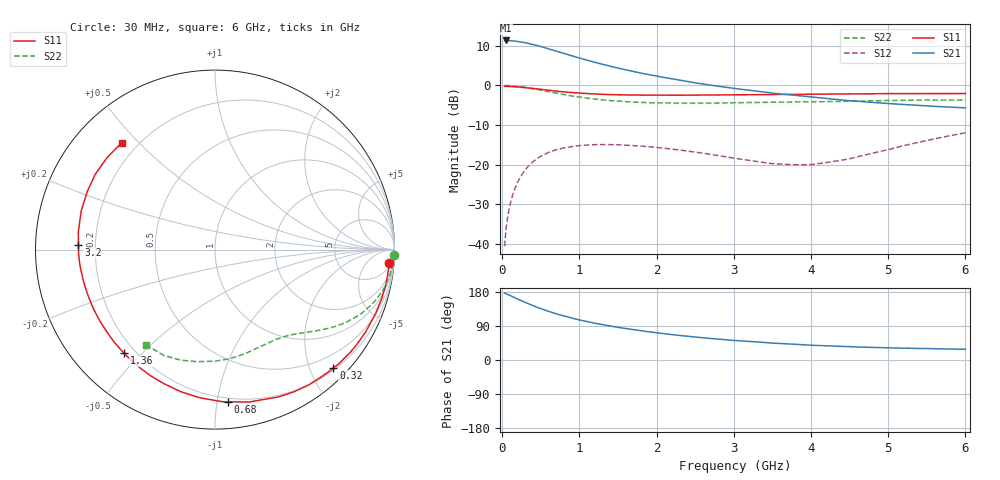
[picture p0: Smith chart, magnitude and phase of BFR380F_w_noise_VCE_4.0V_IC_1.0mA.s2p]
! Infineon Technologies  Discrete & RF Semiconductors
! BFR380F
! VCE =  4.0 V,  IC =  1.0 mA
! Common Emitter S-Parameters:  Nov 2015
# GHz  S  MA  R  50
!  f  S11  S21  S12  S22
! GHz  MAG  ANG  MAG  ANG  MAG  ANG  MAG  ANG
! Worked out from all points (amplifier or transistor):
!   206 points, 30 MHz to 6 GHz, reference 50 ohm
!   highest |S21| = 11.4 dB at 50 MHz (marker M1)
!   |S21| within 3 dB of that: start of sweep to 751.7 MHz
!   unconditionally stable (mu >= 1): 3.124 GHz to 5.03 GHz
!   at 200 MHz: K = 0.04, MSG = 17.8 dB, |S12| = -24.4 dB
!   at 1.56 GHz: K = 0.43, MSG = 9.6 dB, |S12| = -15.1 dB
!   at 6 GHz: K = 0.92, MSG = 3.1 dB, |S12| = -12.0 dB
!   lowest NFmin = 0.89 dB at 450 MHz
!   S11 on the Smith chart (normalised r, x): 30 MHz: 9, -24; 320 MHz: 0.24, -2.39; 680 MHz: 0.17, -1.07; 1.36 GHz: 0.16, -0.44; 3.2 GHz: 0.14, +0.02; 6 GHz: 0.14, +0.45
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0.03  0.973 -4.3  3.677 177.1  0.0093 87.5  0.9973 -1.8
0.05  0.9726 -7.4  3.7 174.6  0.0156 86.2  0.9966 -2.9
0.09  0.9708 -13.1  3.675 171.1  0.0279 82.8  0.9932 -5.3
0.15  0.9634 -21.8  3.653 165.5  0.0459 77.4  0.9835 -8.8
0.2  0.9563 -28.9  3.598 160.7  0.0602 73.4  0.9719 -11.6
0.32  0.9327 -45.0  3.426 150.0  0.0912 64.1  0.9356 -17.8
0.4  0.9173 -55.1  3.288 143.2  0.109 58.6  0.9064 -21.5
0.5  0.8934 -66.8  3.101 135.4  0.1277 52.1  0.8683 -25.7
0.6  0.8701 -77.4  2.901 128.2  0.1427 46.3  0.8324 -29.3
0.68  0.8512 -85.1  2.749 123.1  0.1517 42.1  0.8032 -31.8
0.88  0.8161 -102.0  2.4 111.6  0.1679 33.4  0.7414 -37.1
1.04  0.7943 -113.2  2.162 103.9  0.1749 27.7  0.7026 -40.6
1.2  0.7794 -123.0  1.96 97.0  0.1785 23.0  0.6717 -43.7
1.36  0.7677 -131.2  1.786 91.0  0.1789 19.2  0.6483 -46.6
1.66  0.7562 -144.0  1.529 81.1  0.1748 13.6  0.6191 -51.7
2.02  0.7527 -155.8  1.299 71.3  0.1638 9.4  0.6024 -57.6
2.6  0.7551 -170.3  1.041 58.5  0.139 7.7  0.5967 -67.3
3.1  0.7604 -180.0  0.893 50.4  0.1166 13.0  0.6045 -75.8
3.2  0.7611 178.2  0.869 49.1  0.1128 15.2  0.6061 -77.5
4.1  0.776 162.2  0.698 38.2  0.1026 45.6  0.6227 -92.0
5.1  0.7872 146.2  0.582 31.6  0.1638 69.6  0.6456 -108.8
6  0.7906 131.2  0.52 28.4  0.2518 70.6  0.655 -126.1
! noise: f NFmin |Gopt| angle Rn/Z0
0.45  0.89  0.66  41  0.41
0.9  1.11  0.61  80  0.32
1.8  1.88  0.61  134  0.2
1.9  2.18  0.63  138  0.19
2.4  2.61  0.63  155  0.14
3.5  3.96  0.62  -172  0.16
